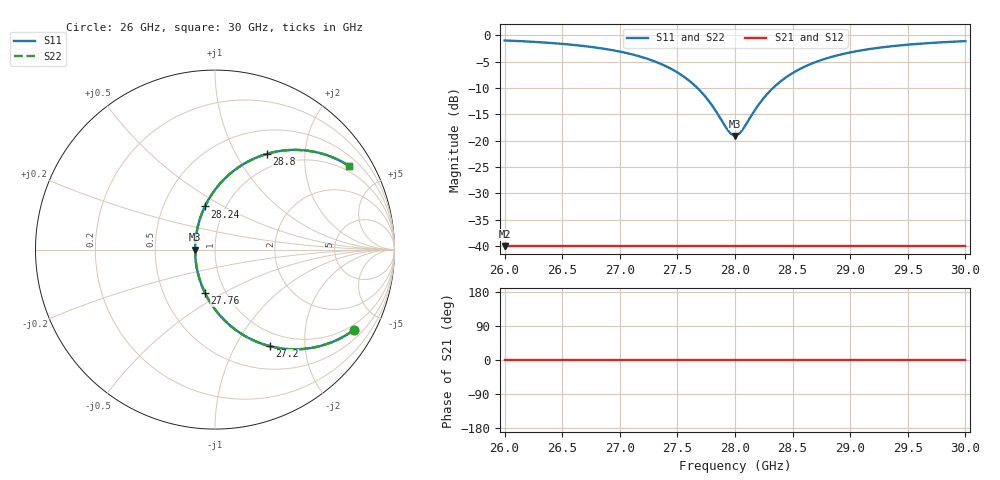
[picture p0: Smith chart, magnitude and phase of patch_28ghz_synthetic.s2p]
! Synthetic two-port fixture for the measurement artifact contract.
! Series RLC (R=40 ohm, Q=30) resonant at exactly 28 GHz: S11(f0) = -1/9
! (-19.085 dB). S21 = 0.01 (-40 dB) flat, zero phase. Generated, not measured;
! see patch_28ghz_synthetic.meta.yaml (synthetic: true).
# GHz S RI R 50
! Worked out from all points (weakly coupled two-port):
!   101 points, 26 GHz to 30 GHz, reference 50 ohm
!   highest |S21| = -40.00 dB at 26 GHz (marker M1); lowest = -40.0 dB at 26 GHz (marker M2)
!   lowest |S11| = -19.1 dB at 28 GHz (marker M3), VSWR 1.25, Z = 40 + j0 ohm
!   |S11| at or under -10 dB: 27.67 GHz to 28.33 GHz (656.1 MHz wide, 2.34 % of centre)
!   |S22| runs from -19.1 to -1.0 dB; largest |S21 - S12| = 0
!   S11 on the Smith chart (normalised r, x): 26 GHz: 0.80, -3.56; 27.2 GHz: 0.80, -1.39; 27.76 GHz: 0.80, -0.41; 28.24 GHz: 0.80, +0.41; 28.8 GHz: 0.80, +1.35; 30 GHz: 0.80, +3.31
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26  0.7738 -0.4474  0.01 0  0.01 0  0.7738 -0.4474
26.36  0.6908 -0.4979  0.01 0  0.01 0  0.6908 -0.4979
26.68  0.5822 -0.5382  0.01 0  0.01 0  0.5822 -0.5382
26.96  0.4497 -0.5555  0.01 0  0.01 0  0.4497 -0.5555
27.2  0.3046 -0.5377  0.01 0  0.01 0  0.3046 -0.5377
27.36  0.195 -0.4964  0.01 0  0.01 0  0.195 -0.4964
27.48  0.1111 -0.4444  0.01 0  0.01 0  0.1111 -0.4444
27.6  0.0315 -0.3716  0.01 0  0.01 0  0.0315 -0.3716
27.68  -0.0157 -0.3113  0.01 0  0.01 0  -0.0157 -0.3113
27.76  -0.0555 -0.2423  0.01 0  0.01 0  -0.0555 -0.2423
27.96  -0.1095 -0.0423  0.01 0  0.01 0  -0.1095 -0.0423
28  -0.1111 0  0.01 0  0.01 0  -0.1111 0
28.04  -0.1095 0.0422  0.01 0  0.01 0  -0.1095 0.0422
28.24  -0.0564 0.2404  0.01 0  0.01 0  -0.0564 0.2404
28.32  -0.0177 0.3084  0.01 0  0.01 0  -0.0177 0.3084
28.44  0.0527 0.3939  0.01 0  0.01 0  0.0527 0.3939
28.68  0.2117 0.5045  0.01 0  0.01 0  0.2117 0.5045
28.8  0.2898 0.5336  0.01 0  0.01 0  0.2898 0.5336
29.04  0.4291 0.5553  0.01 0  0.01 0  0.4291 0.5553
29.36  0.5728 0.5405  0.01 0  0.01 0  0.5728 0.5405
29.68  0.6748 0.5055  0.01 0  0.01 0  0.6748 0.5055
30  0.7469 0.466  0.01 0  0.01 0  0.7469 0.466
